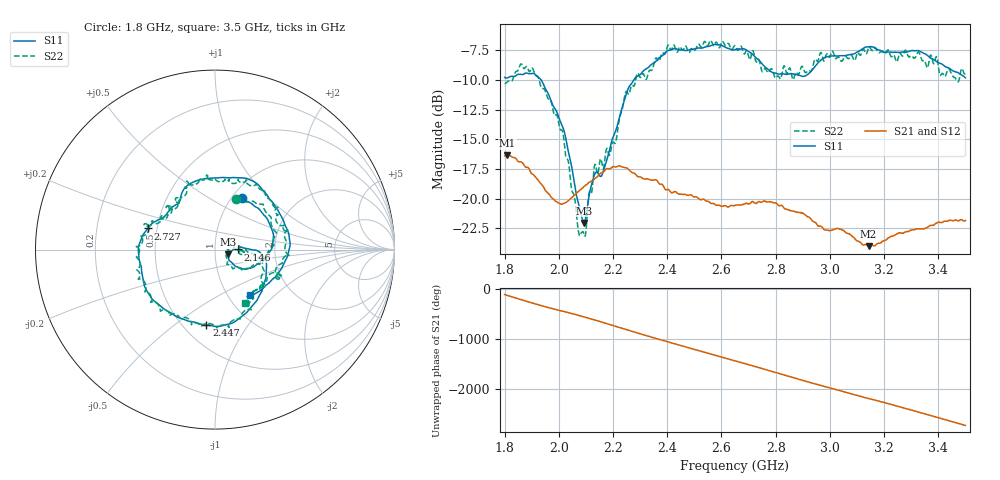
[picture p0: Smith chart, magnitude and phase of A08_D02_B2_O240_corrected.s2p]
! Created with skrf 1.9.0 (http://scikit-rf.org).
# Hz S RI R 50.0
!freq ReS11 ImS11 ReS21 ImS21 ReS12 ImS12 ReS22 ImS22
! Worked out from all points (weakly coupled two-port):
!   1601 points, 1.8 GHz to 3.5 GHz, reference 50 ohm
!   highest |S21| = -16.35 dB at 1.81 GHz (marker M1); lowest = -24.0 dB at 3.143 GHz (marker M2)
!   lowest |S11| = -22.0 dB at 2.092 GHz (marker M3), VSWR 1.17, Z = 58 - j2.95 ohm
!   |S11| at or under -10 dB: 1.935 GHz to 2.277 GHz (342.2 MHz wide, 16.3 % of centre)
!   |S22| runs from -23.1 to -6.7 dB; largest |S21 - S12| = 0.0026
!   S11 on the Smith chart (normalised r, x): 1.8 GHz: 1.12, +0.71; 2.146 GHz: 1.29, +0.00; 2.447 GHz: 0.64, -0.66; 2.727 GHz: 0.44, +0.12; 3.5 GHz: 1.26, -0.72
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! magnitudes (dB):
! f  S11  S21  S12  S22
! 1.8 GHz  -9.8  -16.4  -16.4  -10.3
! 1.81 GHz  -9.8  -16.4  -16.4  -10.2
! 1.902 GHz  -9.5  -17.9  -17.9  -9.0
! 1.968 GHz  -11.6  -19.7  -19.8  -11.7
! 2.02 GHz  -14.3  -20.4  -20.4  -15.3
! 2.084 GHz  -21.5  -19.2  -19.1  -22.8
! 2.092 GHz  -22.0  -19.0  -19.0  -22.9
! 2.13 GHz  -18.0  -18.4  -18.3  -17.4
! 2.146 GHz  -17.9  -18.1  -18.0  -17.7
! 2.208 GHz  -14.4  -17.3  -17.3  -15.3
! 2.259 GHz  -10.6  -17.6  -17.6  -11.2
! 2.367 GHz  -8.2  -18.6  -18.6  -8.4
! 2.447 GHz  -7.5  -19.6  -19.6  -7.2
! 2.65 GHz  -7.5  -20.6  -20.5  -7.1
! 2.727 GHz  -8.1  -20.4  -20.4  -8.4
! 2.809 GHz  -9.5  -20.6  -20.5  -9.7
! 2.934 GHz  -9.2  -21.8  -21.8  -9.2
! 3.143 GHz  -7.2  -24.0  -23.9  -7.3
! 3.217 GHz  -7.7  -23.3  -23.2  -7.6
! 3.33 GHz  -7.6  -22.5  -22.5  -7.7
! 3.414 GHz  -8.7  -22.0  -22.0  -9.5
! 3.5 GHz  -9.8  -21.8  -21.8  -9.3
